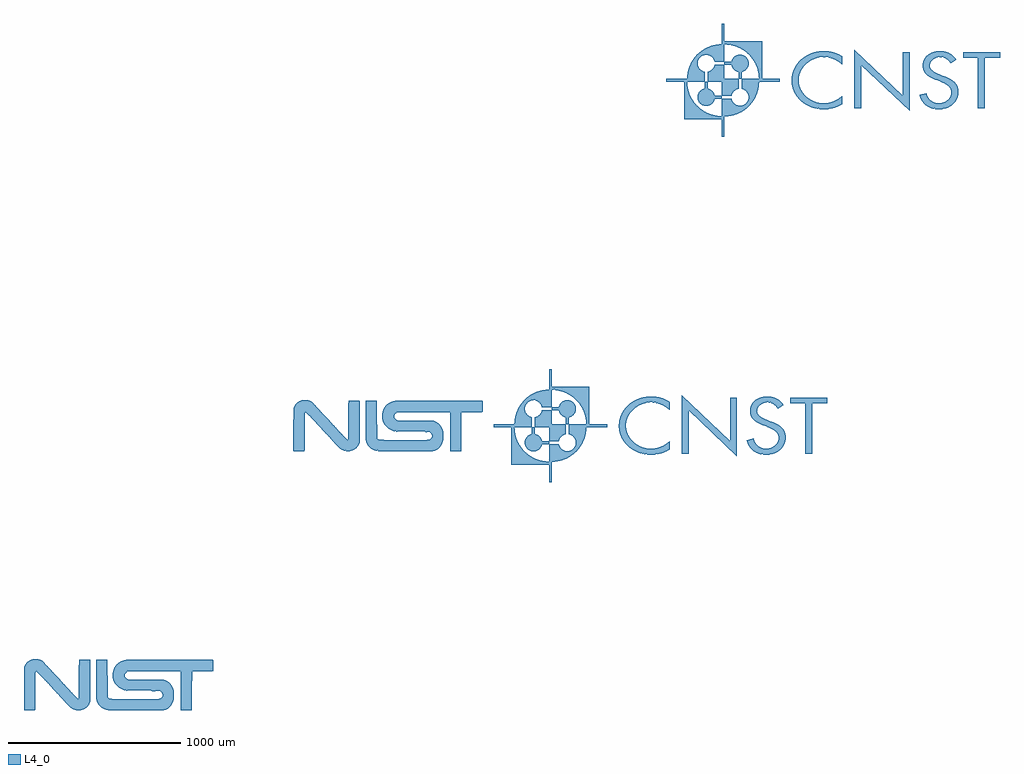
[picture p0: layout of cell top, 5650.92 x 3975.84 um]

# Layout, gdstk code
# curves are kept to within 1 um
import gdstk
lib = gdstk.Library(unit=1e-6, precision=1e-09)
def P(c, l, *ps):  # polygons
    for p in ps: c.add(gdstk.Polygon(p, *l))
L4_0 = (4, 0)

top = lib.new_cell('top')
P(top, L4_0, [(-8,-328),(-8,-106.5),(48.743,-106.5),(51.806,-117.134),(57.84,-127.785),(66.28,-136.651),(74.43,-142.096),(85.851,-146.502),(95.547,-147.94),(107.755,-147.039),(119.378,-143.199),(131.578,-135.048),(142.096,-121.57),(147.039,-107.755),(147.759,-93.099),(144.194,-78.866),(135.048,-64.422),(121.57,-53.904),(106.5,-48.743),(106.5,-8),(208,-8),(204.157,-47.018),(192.776,-84.537),(174.294,-119.114),(149.421,-149.421),(119.114,-174.294),(84.537,-192.776),(47.018,-204.157),(8,-208),(8,-328)],
  [(-98,-148),(-117.134,-144.194),(-131.578,-135.048),(-143.199,-119.378),(-147.94,-100.453),(-145.847,-83.486),(-136.651,-66.28),(-123.705,-55.114),(-106.5,-48.743),(-106.5,-8),(-89.5,-8),(-89.5,-48.743),(-74.43,-53.904),(-62.645,-62.645),(-53.904,-74.43),(-48.743,-89.5),(-8,-89.5),(-8,-106.5),(-48.743,-106.5),(-55.114,-123.705),(-66.28,-136.651),(-81.156,-145.077)],
  [(-226,-226),(-226,-8),(-328,-8),(-328,8),(-106.5,8),(-106.5,-8),(-208,-8),(-204.157,-47.018),(-192.776,-84.537),(-180.795,-108.708),(-165.669,-131.046),(-147.675,-151.146),(-129.102,-167.167),(-100.108,-185.528),(-70.736,-197.906),(-39.772,-205.46),(-8,-208),(-8,-226)],
  [(-8,-89.5),(-8,-8),(-89.5,-8),(-89.5,48.743),(-74.43,53.904),(-62.645,62.645),(-53.904,74.43),(-48.743,89.5),(8,89.5),(8,8),(89.5,8),(89.5,-48.743),(74.43,-53.904),(62.645,-62.645),(53.904,-74.43),(48.743,-89.5)],
  [(-782.609,-147.742),(-1000.158,-145.995),(-1013.112,-142.856),(-1026.578,-137.26),(-1038.624,-129.915),(-1048.897,-121.064),(-1057.325,-110.525),(-1064.205,-97.289),(-1067.375,-86.549),(-1069.117,-71.977),(-1070.367,91.597),(-1069.781,132.811),(-1068.151,144.037),(-1025.753,145.407),(-1009.366,144.563),(-1006.541,142.841),(-1004.888,112.008),(-1003.028,-54.471),(-1002.079,-72.977),(-1000.371,-77.504),(-993.43,-80.748),(-975.931,-82.25),(-857.498,-83.054),(-699.883,-81.589),(-692.628,-77.37),(-686.562,-69.4),(-684.317,-60.963),(-685.455,-52.299),(-691.882,-40.651),(-705.07,-37.187),(-867.287,-34.579),(-898.035,-32.587),(-916.006,-26.549),(-939.491,-12.472),(-955.909,3.327),(-967.137,20.825),(-972.904,41.178),(-973.503,63.067),(-968.625,86.101),(-958.54,106.691),(-945.407,121.45),(-926.073,133.868),(-902.617,142.376),(-882.701,144.365),(-546.483,145.656),(-393.931,144.037),(-392.385,130.823),(-392.661,79.689),(-514.776,77.71),(-516.34,-147.054),(-578.776,-147.054),(-579.576,78.49),(-886.576,78.49),(-893.391,73.83),(-902.861,62.701),(-904.844,56.409),(-904.822,49.968),(-899.3,39.322),(-886.26,30.882),(-714.248,29.465),(-678.291,27.838),(-663.522,21.988),(-649.167,12.385),(-637.791,0.663),(-628.842,-13.484),(-622.695,-28.804),(-620.379,-40.56),(-619.591,-61.931),(-621.284,-81.285),(-625.209,-95.876),(-631.223,-109.359),(-639.013,-121.11),(-648.433,-130.961),(-663.646,-141.037),(-680.061,-146.309)],
  [(-1456.076,-147.838),(-1483.957,-147.062),(-1487.086,-146.089),(-1487.41,-143.553),(-1486.236,95.276),(-1484.784,103.687),(-1479.715,114.663),(-1473.082,124.214),(-1464.902,132.379),(-1447.039,143.219),(-1429.221,147.568),(-1402.559,146.307),(-1393.017,143.267),(-1382.816,137.757),(-1334.701,88.268),(-1182.173,-75.704),(-1177.545,-80.227),(-1172.816,-81.908),(-1170.828,-78.877),(-1169.959,-62.886),(-1169.339,110.564),(-1167.837,141.698),(-1165.018,144.314),(-1156.323,145.344),(-1105.847,144.241),(-1104.279,100.513),(-1104.776,-98.666),(-1114.627,-116.839),(-1127.342,-130.683),(-1137.084,-137.447),(-1148.423,-142.649),(-1159.78,-145.878),(-1171.558,-147.08),(-1193.708,-143.37),(-1216.986,-131.632),(-1258.047,-89.606),(-1398.091,60.852),(-1413.654,76.729),(-1416.398,77.505),(-1420.634,75.605),(-1421.865,63.357),(-1423.858,-144.174),(-1425.37,-146.325),(-1429.177,-147.312)],
  [(89.5,8),(89.5,48.743),(74.43,53.904),(62.645,62.645),(53.904,74.43),(48.743,89.5),(8,89.5),(8,106.5),(48.743,106.5),(55.114,123.705),(68.215,138.16),(85.851,146.502),(102.901,147.759),(121.57,142.096),(136.651,129.72),(145.847,112.514),(147.759,93.099),(144.194,78.866),(135.048,64.422),(121.57,53.904),(106.5,48.743),(106.5,8)],
  [(1475.74,-162.11),(1475.74,129.358),(1389.196,129.358),(1389.196,162.966),(1603.18,162.966),(1603.18,129.358),(1515.696,129.358),(1515.696,-162.11)],
  [(583.679,-167.706),(547.699,-164.526),(512.798,-155.003),(480.513,-139.521),(451.869,-118.527),(428.603,-93.364),(411.105,-64.451),(400.46,-33.509),(396.82,-0.878),(400.406,32.113),(410.916,63.467),(428.241,92.824),(451.746,118.779),(480.372,140.091),(512.224,155.6),(547.328,165.327),(583.712,168.578),(612.796,166.623),(640.232,160.705),(666.155,150.746),(690.696,136.67),(690.696,91.826),(674.309,105.201),(655.29,116.793),(635.55,125.417),(614.649,131.398),(592.899,134.523),(572.032,134.665),(551.294,131.928),(530.771,126.187),(510.866,117.359),(492.737,105.925),(476.662,92.188),(462.916,76.453),(451.776,59.022),(443.519,40.2),(438.421,20.29),(436.756,0.434),(438.433,-19.424),(443.567,-39.335),(451.882,-58.156),(463.1,-75.585),(476.94,-91.317),(493.124,-105.051),(511.372,-116.482),(531.407,-125.307),(551.175,-130.863),(572.001,-133.722),(593.133,-133.655),(614.086,-130.579),(634.814,-124.573),(654.499,-115.97),(673.552,-104.55),(690.696,-90.97),(690.696,-135.814),(665.483,-149.702),(639.018,-159.602),(611.241,-165.699)],
  [(1249.4,-167.706),(1229.178,-166.257),(1209.851,-161.847),(1192.289,-154.673),(1176.687,-144.931),(1162.858,-132.405),(1151.838,-118.055),(1143.37,-101.735),(1137.648,-83.642),(1176.648,-73.734),(1179.532,-85.488),(1184.291,-96.486),(1191.031,-106.807),(1199.197,-115.576),(1208.841,-122.906),(1219.456,-128.419),(1231.213,-132.17),(1243.552,-133.929),(1266.148,-132.184),(1287.212,-124.502),(1304.617,-111.701),(1316.588,-94.99),(1321.519,-79.117),(1321.563,-62.275),(1316.999,-47.51),(1308.077,-35.127),(1298.008,-26.678),(1284.03,-18.417),(1216.981,10.061),(1189.596,25.268),(1177.549,35.018),(1168.549,45.306),(1161.958,56.791),(1157.847,69.553),(1156.289,89.311),(1159.504,108.058),(1167.306,125.108),(1179.431,140.038),(1195.993,152.667),(1215.634,161.808),(1237.55,167.18),(1260.745,168.509),(1288.174,164.409),(1312.593,154.289),(1332.976,138.888),(1349.272,118.138),(1317.4,99.594),(1301.662,118.847),(1293.019,125.394),(1283.206,130.303),(1271.981,133.495),(1259.105,134.891),(1246.407,134.369),(1234.532,131.794),(1215.742,122.308),(1202.499,107.754),(1198.474,98.987),(1196.392,89.31),(1196.427,80.046),(1198.771,71.331),(1207.507,58.703),(1222.709,47.35),(1303.284,12.285),(1321.136,2.408),(1335.428,-8.13),(1347.441,-20.878),(1356.001,-35.568),(1360.806,-51.882),(1362.027,-70.585),(1359.357,-89.78),(1352.696,-108.097),(1342.09,-125.049),(1328.142,-139.665),(1311.301,-151.591),(1292.02,-160.474),(1271.439,-165.845)],
  [(1080.132,-176.766),(800.524,88.39),(800.524,-162.11),(760.584,-162.11),(760.584,176.766),(1040.18,-88.814),(1040.18,162.966),(1080.132,162.966)],
  [(106.5,-8),(106.5,8),(208,8),(204.157,47.018),(192.776,84.537),(180.795,108.708),(165.669,131.046),(147.675,151.146),(129.102,167.167),(100.108,185.528),(70.736,197.906),(39.772,205.46),(8,208),(8,226),(226,226),(226,8),(328,8),(328,-8)],
  [(-106.5,8),(-208,8),(-205.425,39.992),(-196.608,74.537),(-183.536,103.85),(-168.108,127.856),(-146.875,151.923),(-124.979,170.222),(-100.701,185.219),(-71.16,197.765),(-39.992,205.425),(-8,208),(-8,328),(8,328),(8,106.5),(-48.743,106.5),(-53.904,121.57),(-62.645,133.355),(-74.43,142.096),(-88.245,147.039),(-100.453,147.94),(-110.149,146.502),(-121.57,142.096),(-129.72,136.651),(-139.573,125.779),(-145.077,114.844),(-147.94,100.453),(-147.039,88.245),(-142.096,74.43),(-133.355,62.645),(-121.57,53.904),(-106.5,48.743)],
  [(902,1852),(882.866,1855.806),(868.422,1864.952),(856.801,1880.622),(852.06,1899.547),(854.153,1916.514),(863.349,1933.72),(876.295,1944.886),(893.5,1951.257),(893.5,1992),(910.5,1992),(910.5,1951.257),(925.57,1946.096),(937.355,1937.355),(946.096,1925.57),(951.257,1910.5),(992,1910.5),(992,1893.5),(951.257,1893.5),(944.886,1876.295),(933.72,1863.349),(918.844,1854.923)],
  [(992,1910.5),(992,1992),(910.5,1992),(910.5,2048.743),(925.57,2053.904),(937.355,2062.645),(946.096,2074.43),(951.257,2089.5),(1008,2089.5),(1008,2008),(1089.5,2008),(1089.5,1951.257),(1074.43,1946.096),(1062.645,1937.355),(1053.904,1925.57),(1048.743,1910.5)],
  [(1089.5,2008),(1089.5,2048.743),(1074.43,2053.904),(1062.645,2062.645),(1053.904,2074.43),(1048.743,2089.5),(1008,2089.5),(1008,2106.5),(1048.743,2106.5),(1055.114,2123.705),(1068.215,2138.16),(1083.486,2145.847),(1102.901,2147.759),(1121.57,2142.096),(1136.651,2129.72),(1145.847,2112.514),(1147.759,2093.099),(1144.194,2078.866),(1135.048,2064.422),(1121.57,2053.904),(1106.5,2048.743),(1106.5,2008)],
  [(2475.74,1837.89),(2475.74,2129.358),(2389.196,2129.358),(2389.196,2162.966),(2603.18,2162.966),(2603.18,2129.358),(2515.696,2129.358),(2515.696,1837.89)],
  [(1583.679,1832.294),(1547.699,1835.474),(1512.798,1844.997),(1480.513,1860.479),(1451.869,1881.473),(1428.603,1906.636),(1411.105,1935.549),(1400.46,1966.491),(1396.82,1999.122),(1400.406,2032.113),(1410.916,2063.467),(1428.24,2092.824),(1451.746,2118.779),(1480.372,2140.091),(1512.224,2155.6),(1547.328,2165.326),(1583.712,2168.578),(1612.796,2166.622),(1640.233,2160.704),(1666.155,2150.746),(1690.696,2136.67),(1690.696,2091.826),(1674.309,2105.201),(1655.29,2116.793),(1635.55,2125.417),(1614.649,2131.398),(1592.899,2134.523),(1572.032,2134.665),(1551.294,2131.928),(1530.771,2126.187),(1510.866,2117.359),(1492.737,2105.925),(1476.662,2092.188),(1462.916,2076.453),(1451.776,2059.022),(1443.519,2040.2),(1438.421,2020.29),(1436.756,2000.434),(1438.433,1980.576),(1443.567,1960.665),(1451.882,1941.844),(1463.1,1924.415),(1476.94,1908.683),(1493.124,1894.949),(1511.372,1883.518),(1531.407,1874.693),(1551.175,1869.137),(1572.001,1866.278),(1593.133,1866.345),(1614.086,1869.421),(1634.814,1875.427),(1654.499,1884.03),(1673.552,1895.45),(1690.696,1909.03),(1690.696,1864.186),(1666.281,1850.666),(1639.868,1840.651),(1612.123,1834.431)],
  [(2249.4,1832.294),(2229.177,1833.743),(2209.85,1838.153),(2192.289,1845.327),(2176.687,1855.069),(2162.858,1867.595),(2151.838,1881.945),(2143.37,1898.265),(2137.648,1916.358),(2176.648,1926.266),(2179.532,1914.512),(2184.291,1903.514),(2191.031,1893.193),(2199.197,1884.424),(2208.841,1877.094),(2219.456,1871.581),(2231.213,1867.83),(2243.552,1866.071),(2266.148,1867.816),(2287.212,1875.498),(2304.617,1888.299),(2316.588,1905.01),(2321.519,1920.883),(2321.563,1937.725),(2316.999,1952.49),(2308.077,1964.873),(2298.008,1973.322),(2284.03,1981.583),(2216.981,2010.061),(2189.596,2025.268),(2177.872,2034.71),(2168.549,2045.306),(2161.958,2056.791),(2157.847,2069.553),(2156.289,2089.31),(2159.504,2108.058),(2167.306,2125.108),(2179.431,2140.038),(2195.993,2152.667),(2215.634,2161.808),(2237.55,2167.18),(2260.745,2168.509),(2288.174,2164.409),(2312.593,2154.289),(2332.976,2138.888),(2349.272,2118.138),(2317.4,2099.594),(2301.662,2118.847),(2293.019,2125.394),(2283.206,2130.303),(2271.981,2133.495),(2259.105,2134.891),(2246.407,2134.369),(2234.533,2131.794),(2215.742,2122.308),(2202.499,2107.754),(2198.474,2098.987),(2196.392,2089.31),(2196.427,2080.046),(2198.771,2071.331),(2207.507,2058.703),(2222.709,2047.35),(2303.284,2012.285),(2321.136,2002.408),(2335.428,1991.87),(2347.441,1979.122),(2356.001,1964.432),(2360.806,1948.118),(2362.027,1929.415),(2359.357,1910.22),(2352.696,1891.903),(2342.09,1874.951),(2328.142,1860.335),(2311.301,1848.409),(2292.02,1839.526),(2271.439,1834.155)],
  [(2080.132,1823.234),(1800.524,2088.39),(1800.524,1837.89),(1760.584,1837.89),(1760.584,2176.766),(2040.18,1911.186),(2040.18,2162.966),(2080.132,2162.966)],
  [(992,1672),(992,1774),(774,1774),(774,1792),(992,1792),(992,1893.5),(1048.743,1893.5),(1053.904,1878.43),(1062.645,1866.645),(1074.43,1857.904),(1088.245,1852.961),(1100.453,1852.06),(1110.149,1853.498),(1121.57,1857.904),(1131.578,1864.952),(1139.573,1874.221),(1145.847,1887.486),(1147.94,1899.547),(1147.039,1911.755),(1142.096,1925.57),(1133.355,1937.355),(1121.57,1946.096),(1106.5,1951.257),(1106.5,2008),(1208,2008),(1204.157,2047.018),(1193.701,2082.263),(1176.971,2115),(1152.849,2145.908),(1123.162,2171.517),(1104.437,2183.214),(1086.798,2191.823),(1049.422,2203.664),(1027.603,2207.037),(1008,2208),(1008,2106.5),(951.257,2106.5),(948.194,2117.134),(942.16,2127.785),(933.72,2136.651),(923.378,2143.199),(911.755,2147.039),(899.547,2147.94),(887.486,2145.847),(878.43,2142.096),(866.645,2133.355),(857.904,2121.57),(852.961,2107.754),(852.241,2093.099),(855.806,2078.866),(864.952,2064.422),(878.43,2053.904),(893.5,2048.743),(893.5,1992),(792,1992),(795.843,1952.982),(807.224,1915.463),(825.706,1880.886),(850.579,1850.579),(880.886,1825.706),(915.463,1807.224),(952.982,1795.843),(992,1792),(774,1792),(774,1992),(672,1992),(672,2008),(792,2008),(795.843,2047.018),(807.224,2084.537),(825.706,2119.114),(850.579,2149.421),(880.886,2174.294),(915.463,2192.776),(952.982,2204.157),(992,2208),(992,2328),(1008,2328),(1008,2226),(1226,2226),(1226,2008),(1328,2008),(1328,1992),(1208,1992),(1204.157,1952.982),(1192.776,1915.463),(1174.294,1880.886),(1149.421,1850.579),(1119.114,1825.706),(1084.537,1807.224),(1047.018,1795.843),(1008,1792),(1008,1672)],
  [(-2342.608,-1647.742),(-2560.158,-1645.995),(-2573.113,-1642.856),(-2586.578,-1637.26),(-2598.623,-1629.915),(-2608.897,-1621.064),(-2617.325,-1610.525),(-2624.205,-1597.289),(-2627.375,-1586.549),(-2629.117,-1571.977),(-2630.367,-1408.403),(-2629.782,-1367.189),(-2628.151,-1355.963),(-2585.753,-1354.593),(-2569.366,-1355.437),(-2566.541,-1357.159),(-2564.888,-1387.992),(-2563.028,-1554.471),(-2562.079,-1572.977),(-2560.371,-1577.504),(-2553.43,-1580.748),(-2535.931,-1582.25),(-2417.498,-1583.054),(-2259.883,-1581.589),(-2252.855,-1577.578),(-2246.562,-1569.4),(-2244.317,-1560.963),(-2245.455,-1552.299),(-2251.882,-1540.651),(-2265.07,-1537.187),(-2427.287,-1534.578),(-2458.035,-1532.587),(-2476.006,-1526.549),(-2499.491,-1512.472),(-2515.909,-1496.673),(-2527.137,-1479.175),(-2532.904,-1458.822),(-2533.503,-1436.933),(-2528.625,-1413.899),(-2518.54,-1393.309),(-2505.407,-1378.55),(-2486.073,-1366.132),(-2462.617,-1357.624),(-2442.701,-1355.635),(-2106.483,-1354.344),(-1953.931,-1355.963),(-1952.385,-1369.177),(-1952.661,-1420.311),(-2074.776,-1422.29),(-2076.34,-1647.054),(-2138.776,-1647.054),(-2139.576,-1421.51),(-2446.576,-1421.51),(-2453.391,-1426.17),(-2462.861,-1437.299),(-2464.844,-1443.591),(-2464.822,-1450.032),(-2459.3,-1460.678),(-2446.26,-1469.118),(-2274.248,-1470.535),(-2238.291,-1472.162),(-2223.522,-1478.012),(-2209.167,-1487.615),(-2197.791,-1499.337),(-2188.842,-1513.484),(-2182.695,-1528.804),(-2180.379,-1540.56),(-2179.591,-1561.931),(-2181.284,-1581.285),(-2185.209,-1595.876),(-2191.224,-1609.359),(-2199.013,-1621.11),(-2208.433,-1630.961),(-2223.646,-1641.037),(-2240.062,-1646.309)],
  [(-3016.076,-1647.838),(-3043.957,-1647.062),(-3047.086,-1646.089),(-3047.41,-1643.553),(-3046.236,-1404.724),(-3044.784,-1396.313),(-3039.715,-1385.337),(-3033.082,-1375.786),(-3024.902,-1367.621),(-3007.039,-1356.781),(-2989.221,-1352.432),(-2962.559,-1353.693),(-2953.017,-1356.733),(-2942.816,-1362.243),(-2894.701,-1411.732),(-2742.173,-1575.704),(-2737.38,-1580.336),(-2732.816,-1581.908),(-2730.828,-1578.877),(-2729.959,-1562.886),(-2729.338,-1389.436),(-2727.797,-1358.166),(-2724.818,-1355.625),(-2715.779,-1354.634),(-2665.847,-1355.759),(-2664.279,-1399.487),(-2664.776,-1598.666),(-2674.627,-1616.839),(-2687.342,-1630.683),(-2697.084,-1637.447),(-2708.423,-1642.649),(-2719.78,-1645.878),(-2731.558,-1647.08),(-2753.708,-1643.37),(-2776.986,-1631.632),(-2818.047,-1589.606),(-2958.091,-1439.148),(-2973.654,-1423.271),(-2976.398,-1422.495),(-2980.634,-1424.395),(-2981.865,-1436.643),(-2983.881,-1644.306),(-2985.441,-1646.367),(-2989.177,-1647.312)])

lib.write_gds('top.gds')
